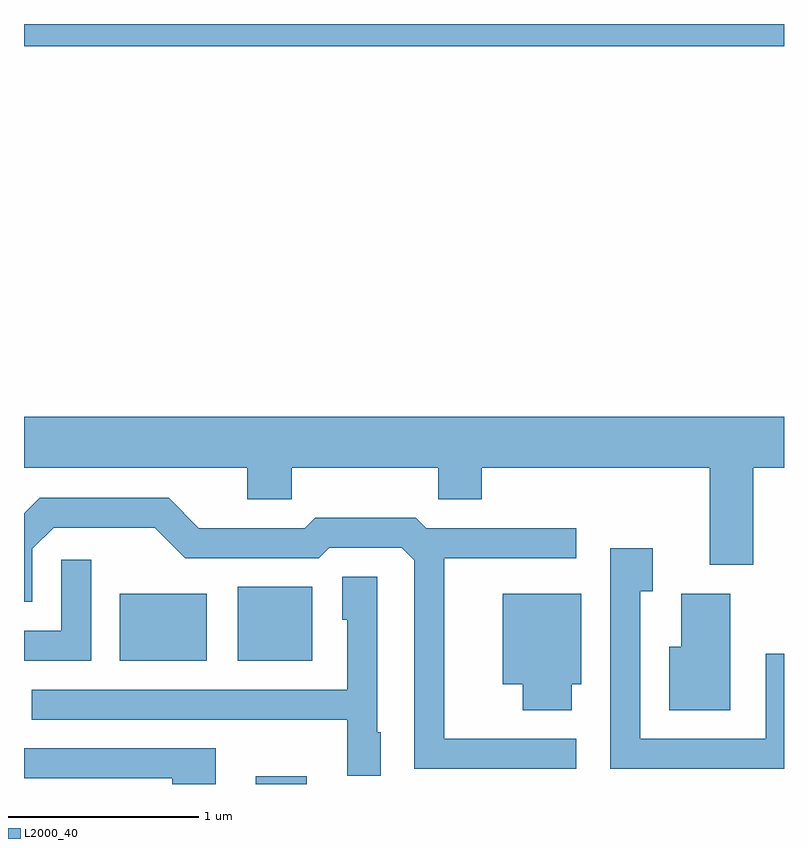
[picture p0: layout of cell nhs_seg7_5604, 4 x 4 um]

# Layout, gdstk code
import gdstk
lib = gdstk.Library(unit=1e-6, precision=1e-09)
def R(c, l, rs):  # rectangles x0, y0, x1, y1
    for r in rs: c.add(gdstk.rectangle(r[:2], r[2:], *l))
def P(c, l, *ps):  # polygons
    for p in ps: c.add(gdstk.Polygon(p, *l))
L2000_40 = (2000, 40)

nhs_seg7_5604 = lib.new_cell('nhs_seg7_5604')
R(nhs_seg7_5604, L2000_40, [(358.831,1668.252,359.099,1668.294), (358.116,1668.901,358.574,1669.254), (358.736,1668.901,359.129,1669.289), (357.611,1672.136,361.611,1672.252)])
P(nhs_seg7_5604, L2000_40, [(361.449,1669.916),(361.611,1669.916),(361.611,1670.184),(357.611,1670.184),(357.611,1669.916),(358.786,1669.916),(358.786,1669.751),(359.019,1669.751),(359.019,1669.916),(359.791,1669.916),(359.791,1669.751),(360.019,1669.751),(360.019,1669.916),(361.221,1669.916),(361.221,1669.406),(361.449,1669.406)],
  [(360.518,1668.489),(359.824,1668.489),(359.824,1669.441),(360.518,1669.441),(360.518,1669.599),(359.727,1669.599),(359.672,1669.654),(359.144,1669.654),(359.089,1669.599),(358.532,1669.599),(358.372,1669.759),(357.694,1669.759),(357.611,1669.676),(357.611,1669.211),(357.654,1669.211),(357.654,1669.489),(357.767,1669.601),(358.299,1669.601),(358.459,1669.441),(359.162,1669.441),(359.217,1669.496),(359.599,1669.496),(359.666,1669.429),(359.666,1668.331),(360.518,1668.331)],
  [(361.611,1668.938),(361.516,1668.938),(361.516,1668.489),(360.854,1668.489),(360.854,1669.266),(360.919,1669.266),(360.919,1669.494),(360.696,1669.494),(360.696,1668.331),(361.611,1668.331)],
  [(357.964,1669.433),(357.806,1669.433),(357.806,1669.059),(357.611,1669.059),(357.611,1668.901),(357.964,1668.901)],
  [(359.489,1668.524),(359.469,1668.524),(359.469,1669.344),(359.286,1669.344),(359.286,1669.116),(359.311,1669.116),(359.311,1668.749),(357.653,1668.749),(357.653,1668.591),(359.311,1668.591),(359.311,1668.296),(359.489,1668.296)],
  [(361.329,1669.254),(361.071,1669.254),(361.071,1668.974),(361.006,1668.974),(361.006,1668.641),(361.329,1668.641)],
  [(360.494,1668.776),(360.544,1668.776),(360.544,1669.254),(360.131,1669.254),(360.131,1668.776),(360.236,1668.776),(360.236,1668.641),(360.494,1668.641)],
  [(358.619,1668.439),(357.611,1668.439),(357.611,1668.281),(358.391,1668.281),(358.391,1668.252),(358.619,1668.252)])

lib.write_gds('nhs_seg7_5604.gds')
